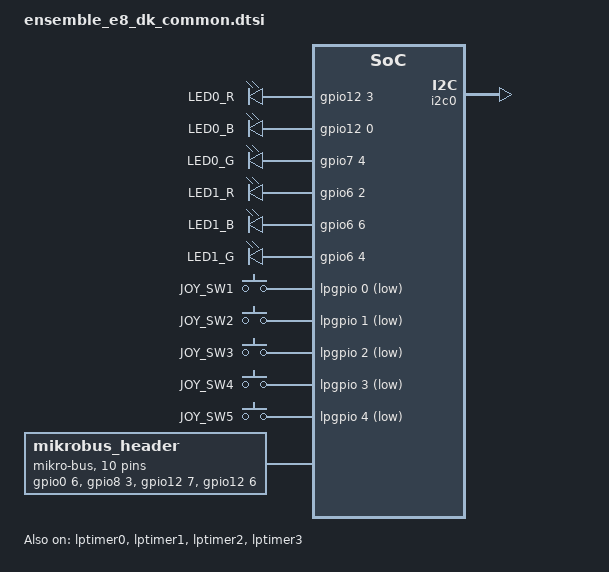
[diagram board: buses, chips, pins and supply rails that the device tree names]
/*
 * SPDX-FileCopyrightText: Copyright Alif Semiconductor
 * SPDX-License-Identifier: Apache-2.0
 */

/*
 * On-board peripherals shared by every ensemble_e8_dk board target. Include
 * this after the SoC dtsi, the cluster dtsi and the board pinctrl dtsi: every
 * node referenced below comes from one of those.
 */

#include <zephyr/dt-bindings/gpio/gpio.h>
#include <zephyr/dt-bindings/gpio/mikro-bus.h>
#include <zephyr/dt-bindings/input/input-event-codes.h>

/ {
	aliases {
		led0 = &led0_red;
		led1 = &led0_blue;
		led2 = &led0_green;
		led3 = &led1_red;
		led4 = &led1_blue;
		led5 = &led1_green;
		sw0 = &joy_center;
	};

	leds {
		compatible = "gpio-leds";

		led0_red: led_0 {
			gpios = <&gpio12 3 GPIO_ACTIVE_HIGH>;
			label = "LED0_R";
		};

		led0_blue: led_1 {
			gpios = <&gpio12 0 GPIO_ACTIVE_HIGH>;
			label = "LED0_B";
		};

		led0_green: led_2 {
			gpios = <&gpio7 4 GPIO_ACTIVE_HIGH>;
			label = "LED0_G";
		};

		led1_red: led_3 {
			gpios = <&gpio6 2 GPIO_ACTIVE_HIGH>;
			label = "LED1_R";
		};

		led1_blue: led_4 {
			gpios = <&gpio6 6 GPIO_ACTIVE_HIGH>;
			label = "LED1_B";
		};

		led1_green: led_5 {
			gpios = <&gpio6 4 GPIO_ACTIVE_HIGH>;
			label = "LED1_G";
		};
	};

	gpio_keys {
		compatible = "gpio-keys";
		/*
		 * The DesignWare GPIO driver does not implement both
		 * edge triggering, which the interrupt driven mode of
		 * the GPIO keys driver needs.
		 */
		polling-mode;

		joy_left: joy_left {
			gpios = <&lpgpio 0 GPIO_ACTIVE_LOW>;
			label = "JOY_SW1";
			zephyr,code = <INPUT_KEY_LEFT>;
		};

		joy_up: joy_up {
			gpios = <&lpgpio 1 GPIO_ACTIVE_LOW>;
			label = "JOY_SW2";
			zephyr,code = <INPUT_KEY_UP>;
		};

		joy_down: joy_down {
			gpios = <&lpgpio 2 GPIO_ACTIVE_LOW>;
			label = "JOY_SW3";
			zephyr,code = <INPUT_KEY_DOWN>;
		};

		joy_right: joy_right {
			gpios = <&lpgpio 3 GPIO_ACTIVE_LOW>;
			label = "JOY_SW4";
			zephyr,code = <INPUT_KEY_RIGHT>;
		};

		joy_center: joy_center {
			gpios = <&lpgpio 4 GPIO_ACTIVE_LOW>;
			label = "JOY_SW5";
			zephyr,code = <INPUT_KEY_ENTER>;
		};
	};

	mikrobus_header: mikrobus-connector {
		compatible = "mikro-bus";
		#gpio-cells = <2>;
		gpio-map-mask = <0xffffffff 0xffffffc0>;
		gpio-map-pass-thru = <0 0x3f>;
		gpio-map = <MIKROBUS_AN 0 &gpio0 6 0>,
			   <MIKROBUS_RST 0 &gpio8 3 0>,
			   <MIKROBUS_CS 0 &gpio12 7 0>,
			   <MIKROBUS_SCK 0 &gpio12 6 0>,
			   <MIKROBUS_MISO 0 &gpio12 4 0>,
			   <MIKROBUS_MOSI 0 &gpio12 5 0>,
			   <MIKROBUS_PWM 0 &gpio5 6 0>,
			   <MIKROBUS_INT 0 &gpio8 1 0>,
			   <MIKROBUS_RX 0 &gpio1 5 0>,
			   <MIKROBUS_TX 0 &gpio1 4 0>;
	};
};

&gpio6 {
	pinctrl-0 = <&gpio6_default>;
	pinctrl-names = "default";
	status = "okay";
};

&gpio7 {
	pinctrl-0 = <&gpio7_default>;
	pinctrl-names = "default";
	status = "okay";
};

&gpio12 {
	pinctrl-0 = <&gpio12_default>;
	pinctrl-names = "default";
	status = "okay";
};

&lpgpio {
	pinctrl-0 = <&lpgpio_default>;
	pinctrl-names = "default";
	status = "okay";
};

&i2c0 {
	pinctrl-0 = <&i2c0_default>;
	pinctrl-names = "default";
	status = "okay";
};

&lptimer0 {
	status = "okay";
};

&lptimer1 {
	status = "okay";
};

&lptimer2 {
	status = "okay";
};

&lptimer3 {
	status = "okay";
};

mikrobus_i2c: &i2c0 {};
